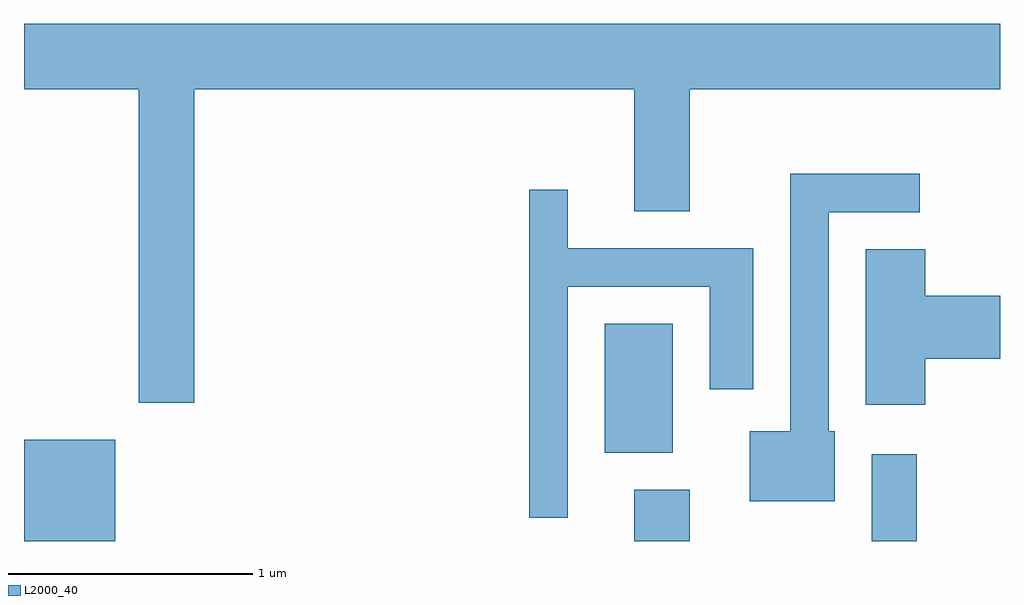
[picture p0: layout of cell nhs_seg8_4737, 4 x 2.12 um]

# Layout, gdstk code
import gdstk
lib = gdstk.Library(unit=1e-6, precision=1e-09)
def R(c, l, rs):  # rectangles x0, y0, x1, y1
    for r in rs: c.add(gdstk.rectangle(r[:2], r[2:], *l))
def P(c, l, *ps):  # polygons
    for p in ps: c.add(gdstk.Polygon(p, *l))
L2000_40 = (2000, 40)

nhs_seg8_4737 = lib.new_cell('nhs_seg8_4737')
R(nhs_seg8_4737, L2000_40, [(327.611,1832.342,327.984,1832.759), (330.111,1832.342,330.339,1832.554), (331.086,1832.342,331.269,1832.699), (329.991,1832.706,330.269,1833.234)])
P(nhs_seg8_4737, L2000_40, [(328.309,1834.196),(330.111,1834.196),(330.111,1833.696),(330.339,1833.696),(330.339,1834.196),(331.611,1834.196),(331.611,1834.464),(327.611,1834.464),(327.611,1834.196),(328.081,1834.196),(328.081,1832.911),(328.309,1832.911)],
  [(330.934,1832.794),(330.909,1832.794),(330.909,1833.691),(331.283,1833.691),(331.283,1833.849),(330.751,1833.849),(330.751,1832.794),(330.586,1832.794),(330.586,1832.506),(330.934,1832.506)],
  [(329.839,1833.386),(330.421,1833.386),(330.421,1832.966),(330.599,1832.966),(330.599,1833.544),(329.839,1833.544),(329.839,1833.783),(329.681,1833.783),(329.681,1832.438),(329.839,1832.438)],
  [(331.304,1833.091),(331.611,1833.091),(331.611,1833.349),(331.304,1833.349),(331.304,1833.539),(331.061,1833.539),(331.061,1832.901),(331.304,1832.901)])

lib.write_gds('nhs_seg8_4737.gds')
